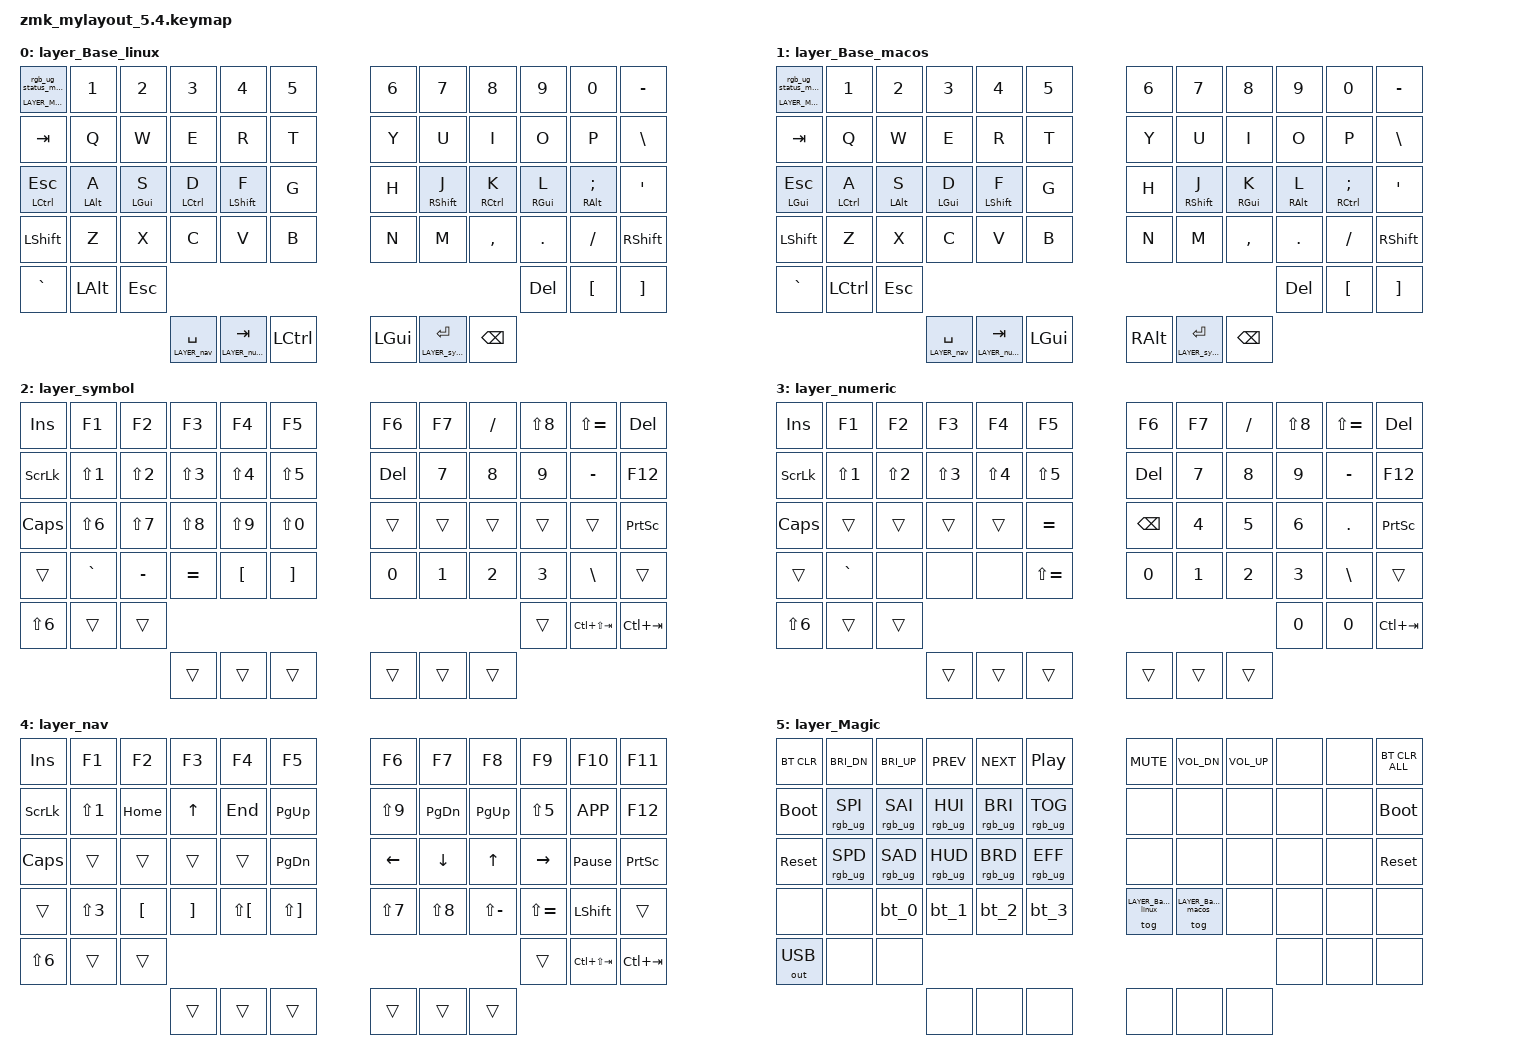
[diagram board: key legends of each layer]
/*
 * Copyright (c) 2020 The ZMK Contributors
 * Copyright (c) 2025 Innaworks Development Limited, trading as MoErgo
 *
 * SPDX-License-Identifier: MIT
 */


/* THIS FILE WAS GENERATED BY GO60 LAYOUT EDITOR
 *
 * This file was generated automatically. You may or may not want to
 * edit it directly.
 */

#include <behaviors.dtsi>

/* Include all behavior includes needed */

#include <dt-bindings/zmk/outputs.h>
#include <dt-bindings/zmk/keys.h>
#include <dt-bindings/zmk/bt.h>
#include <dt-bindings/zmk/rgb.h>

#include <input/processors.dtsi>
#include <dt-bindings/zmk/input_transform.h>
#include <zephyr/dt-bindings/input/input-event-codes.h>

/* On demand includes */
#include <dt-bindings/zmk/input_transform.h>
#include <dt-bindings/zmk/pointing.h>
#include <input/processors.dtsi>

/* Helper Macros, based on https://github.com/urob/zmk-helpers/ */

#pragma once

#define ZMK_HELPER_STRINGIFY(x) #x

// Preprocessor mechanism to overload macros, cf. https://stackoverflow.com/a/27051616/6114651
#define VARGS_(_10, _9, _8, _7, _6, _5, _4, _3, _2, _1, N, ...) N
#define VARGS(...) VARGS_(__VA_ARGS__, 10, 9, 8, 7, 6, 5, 4, 3, 2, 1, 0)
#define CONCAT_(a, b) a##b
#define CONCAT(a, b) CONCAT_(a, b)

#define ZMK_BEHAVIOR_CORE_tap_dance  \
    compatible = "zmk,behavior-tap-dance"; \
    #binding-cells = <0>

#define ZMK_BEHAVIOR(name, type, ...) \
    name: name { \
        ZMK_BEHAVIOR_CORE_ ## type; \
        __VA_ARGS__ \
    };

#define ZMK_TAP_DANCE(name, ...) \
    ZMK_BEHAVIOR(name, tap_dance, __VA_ARGS__)

#define ZMK_TD_LAYER(name, layer) \
    ZMK_TAP_DANCE(name, \
        tapping-term-ms = <200>; \
        bindings = <&mo layer>, <&to layer>; \
)





/* Key positions */

#define POS_LH_C6R1 0
#define POS_LH_C5R1 1
#define POS_LH_C4R1 2
#define POS_LH_C3R1 3
#define POS_LH_C2R1 4
#define POS_LH_C1R1 5
#define POS_RH_C1R1 6
#define POS_RH_C2R1 7
#define POS_RH_C3R1 8
#define POS_RH_C4R1 9
#define POS_RH_C5R1 10
#define POS_RH_C6R1 11
#define POS_LH_C6R2 12
#define POS_LH_C5R2 13
#define POS_LH_C4R2 14
#define POS_LH_C3R2 15
#define POS_LH_C2R2 16
#define POS_LH_C1R2 17
#define POS_RH_C1R2 18
#define POS_RH_C2R2 19
#define POS_RH_C3R2 20
#define POS_RH_C4R2 21
#define POS_RH_C5R2 22
#define POS_RH_C6R2 23
#define POS_LH_C6R3 24
#define POS_LH_C5R3 25
#define POS_LH_C4R3 26
#define POS_LH_C3R3 27
#define POS_LH_C2R3 28
#define POS_LH_C1R3 29
#define POS_RH_C1R3 30
#define POS_RH_C2R3 31
#define POS_RH_C3R3 32
#define POS_RH_C4R3 33
#define POS_RH_C5R3 34
#define POS_RH_C6R3 35
#define POS_LH_C6R4 36
#define POS_LH_C5R4 37
#define POS_LH_C4R4 38
#define POS_LH_C3R4 39
#define POS_LH_C2R4 40
#define POS_LH_C1R4 41
#define POS_RH_C1R4 42
#define POS_RH_C2R4 43
#define POS_RH_C3R4 44
#define POS_RH_C4R4 45
#define POS_RH_C5R4 46
#define POS_RH_C6R4 47
#define POS_LH_C4R5 48
#define POS_LH_C3R5 49
#define POS_LH_C2R5 50
#define POS_RH_C2R5 51
#define POS_RH_C3R5 52
#define POS_RH_C4R5 53
#define POS_LH_T1 54
#define POS_LH_T2 55
#define POS_LH_T3 56
#define POS_RH_T3 57
#define POS_RH_T2 58
#define POS_RH_T1 59


#define LEFT_HAND_KEYS \
  POS_LH_C1R1 POS_LH_C2R1 POS_LH_C3R1 POS_LH_C4R1 POS_LH_C5R1 POS_LH_C6R1 \
  POS_LH_C1R2 POS_LH_C2R2 POS_LH_C3R2 POS_LH_C4R2 POS_LH_C5R2 POS_LH_C6R2 \
  POS_LH_C1R3 POS_LH_C2R3 POS_LH_C3R3 POS_LH_C4R3 POS_LH_C5R3 POS_LH_C6R3 \
  POS_LH_C1R4 POS_LH_C2R4 POS_LH_C3R4 POS_LH_C4R4 POS_LH_C5R4 POS_LH_C6R4 \
              POS_LH_C2R5 POS_LH_C3R5 POS_LH_C4R5

#define RIGHT_HAND_KEYS \
  POS_RH_C1R1 POS_RH_C2R1 POS_RH_C3R1 POS_RH_C4R1 POS_RH_C5R1 POS_RH_C6R1 \
  POS_RH_C1R2 POS_RH_C2R2 POS_RH_C3R2 POS_RH_C4R2 POS_RH_C5R2 POS_RH_C6R2 \
  POS_RH_C1R3 POS_RH_C2R3 POS_RH_C3R3 POS_RH_C4R3 POS_RH_C5R3 POS_RH_C6R3 \
  POS_RH_C1R4 POS_RH_C2R4 POS_RH_C3R4 POS_RH_C4R4 POS_RH_C5R4 POS_RH_C6R4 \
              POS_RH_C2R5 POS_RH_C3R5 POS_RH_C4R5

#define THUMB_KEYS \
  POS_LH_T1 POS_LH_T2 POS_LH_T3 \
  POS_RH_T1 POS_RH_T2 POS_RH_T3

/* Environment and metadata defines */
#define KB_TYPE_GLOVE_80 1
#define KB_TYPE_GO_60    2

#define KB_TYPE          KB_TYPE_GO_60
#define EDITOR_HOST_OS   'L'

/* Automatically generated layer name defines */
#define LAYER_Base_linux 0
#define LAYER_Base_macos 1
#define LAYER_symbol 2
#define LAYER_numeric 3
#define LAYER_nav 4
#define LAYER_Magic 5

/* To deal with the situation where there is no Lower layer, to keep &lower happy */
#ifndef LAYER_Lower
#define LAYER_Lower 0
#endif

/* Generated input processors */
/ {
    input_processors {
        zip_click_to_right_click_mapper: zip_click_to_right_click_mapper {
            compatible = "zmk,input-processor-code-mapper";
            #input-processor-cells = <0>;
            type = <INPUT_EV_KEY>;
            map = <INPUT_BTN_0 INPUT_BTN_1>;
        };
    };
};

/* Custom Device-tree */


/* Input Listeners */
&cirque_rh_listener {
    input-processors = <&zip_xy_scaler 5 2>;
    layer_symbol {
        layers = <LAYER_symbol>;
        input-processors = <&zip_xy_scaler 5 1>;
    };
    layer_nav {
        layers = <LAYER_nav>;
        input-processors = <&zip_xy_scaler 9 1>;
    };
};

&cirque_lh_listener {
    input-processors = <&zip_xy_scaler 1 8>, <&zip_xy_transform INPUT_TRANSFORM_Y_INVERT>, <&zip_xy_to_scroll_mapper>, <&zip_click_to_right_click_mapper>;
    layer_symbol {
        layers = <LAYER_symbol>;
        input-processors = <&zip_xy_scaler 1 2>, <&zip_xy_transform INPUT_TRANSFORM_Y_INVERT>, <&zip_xy_to_scroll_mapper>, <&zip_click_to_right_click_mapper>;
    };
    layer_nav {
        layers = <LAYER_nav>;
        input-processors = <&zip_xy_scaler 2 1>, <&zip_xy_transform INPUT_TRANSFORM_Y_INVERT>, <&zip_xy_to_scroll_mapper>, <&zip_click_to_right_click_mapper>;
    };
};

/* System behavior and macros */
/ {
    behaviors {
        ZMK_TD_LAYER(lower, LAYER_Lower)
    };
};

/ {
    macros {
        rgb_ug_status_macro: rgb_ug_status_macro {
            label = "RGB_UG_STATUS";
            compatible = "zmk,behavior-macro";
            #binding-cells = <0>;
            bindings
                = <&rgb_ug RGB_STATUS>;
        };
    };
};

/ {
#ifdef BT_DISC_CMD
    behaviors {
        bt_0: bt_0 {
            compatible = "zmk,behavior-tap-dance";
            label = "BT_0";
            #binding-cells = <0>;
            tapping-term-ms = <200>;
            bindings = <&bt_select_0>, <&bt BT_DISC 0>;
        };
        bt_1: bt_1 {
            compatible = "zmk,behavior-tap-dance";
            label = "BT_1";
            #binding-cells = <0>;
            tapping-term-ms = <200>;
            bindings = <&bt_select_1>, <&bt BT_DISC 1>;
        };
        bt_2: bt_2 {
            compatible = "zmk,behavior-tap-dance";
            label = "BT_2";
            #binding-cells = <0>;
            tapping-term-ms = <200>;
            bindings = <&bt_select_2>, <&bt BT_DISC 2>;
        };
        bt_3: bt_3 {
            compatible = "zmk,behavior-tap-dance";
            label = "BT_3";
            #binding-cells = <0>;
            tapping-term-ms = <200>;
            bindings = <&bt_select_3>, <&bt BT_DISC 3>;
        };
    };
    macros {
        bt_select_0: bt_select_0 {
            label = "BT_SELECT_0";
            compatible = "zmk,behavior-macro";
            #binding-cells = <0>;
            bindings
                = <&out OUT_BLE>,
                  <&bt BT_SEL 0>;
        };
        bt_select_1: bt_select_1 {
            label = "BT_SELECT_1";
            compatible = "zmk,behavior-macro";
            #binding-cells = <0>;
            bindings
                = <&out OUT_BLE>,
                  <&bt BT_SEL 1>;
        };
        bt_select_2: bt_select_2 {
            label = "BT_SELECT_2";
            compatible = "zmk,behavior-macro";
            #binding-cells = <0>;
            bindings
                = <&out OUT_BLE>,
                  <&bt BT_SEL 2>;
        };
        bt_select_3: bt_select_3 {
            label = "BT_SELECT_3";
            compatible = "zmk,behavior-macro";
            #binding-cells = <0>;
            bindings
                = <&out OUT_BLE>,
                  <&bt BT_SEL 3>;
        };
    };
#else
    macros {
        bt_0: bt_0 {
            label = "BT_0";
            compatible = "zmk,behavior-macro";
            #binding-cells = <0>;
            bindings
                = <&out OUT_BLE>,
                  <&bt BT_SEL 0>;
        };
        bt_1: bt_1 {
            label = "BT_1";
            compatible = "zmk,behavior-macro";
            #binding-cells = <0>;
            bindings
                = <&out OUT_BLE>,
                  <&bt BT_SEL 1>;
        };
        bt_2: bt_2 {
            label = "BT_2";
            compatible = "zmk,behavior-macro";
            #binding-cells = <0>;
            bindings
                = <&out OUT_BLE>,
                  <&bt BT_SEL 2>;
        };
        bt_3: bt_3 {
            label = "BT_3";
            compatible = "zmk,behavior-macro";
            #binding-cells = <0>;
            bindings
                = <&out OUT_BLE>,
                  <&bt BT_SEL 3>;
        };
    };
#endif
};

/ {
    behaviors {
        magic: magic {
            compatible = "zmk,behavior-hold-tap";
            label = "MAGIC_HOLD_TAP";
            #binding-cells = <2>;
            flavor = "tap-preferred";
            tapping-term-ms = <200>;
            bindings = <&mo>, <&rgb_ug_status_macro>;
        };
    };
};


/* Custom Defined Behaviors */
/ {

};

/* Automatically generated macro definitions */
/ {
    macros {

    };
};

/* Automatically generated behavior definitions */
/ {
    behaviors {


        // Homerow Mod for the left index finger - TailorKey.
        // For advanced tuning of HRM values, see: https://docs.google.com/spreadsheets/d/1ESgObQelyz4lnKlfwLYsmofLJulOMK5RdGBsopLe2o8
        HRM_left_index_v1_TKZ: HRM_left_index_v1_TKZ {
            compatible = "zmk,behavior-hold-tap";
            #binding-cells = <2>;
            tapping-term-ms = <190>;
            bindings = <&kp>, <&kp>;
            flavor = "tap-preferred";
            quick-tap-ms = <300>;
            require-prior-idle-ms = <100>;
            hold-trigger-key-positions = <POS_LH_T1 POS_LH_T2 POS_LH_T3 POS_RH_C1R1 POS_RH_C2R1 POS_RH_C3R1 POS_RH_C4R1 POS_RH_C5R1 POS_RH_C1R2 POS_RH_C2R2 POS_RH_C3R2 POS_RH_C4R2 POS_RH_C5R2 POS_RH_C1R3 POS_RH_C2R3 POS_RH_C3R3 POS_RH_C4R3 POS_RH_C5R3 POS_RH_C1R4 POS_RH_C2R4 POS_RH_C3R4 POS_RH_C4R4 POS_RH_C5R4 POS_RH_T3 POS_RH_T2 POS_RH_T1 POS_RH_C6R1 POS_RH_C6R2 POS_RH_C6R3 POS_RH_C6R4 POS_RH_C3R5 POS_RH_C4R5 POS_RH_C2R5>;
            hold-trigger-on-release;
        };

        // Homerow Mod for the left middle finger - TailorKey
        HRM_left_middy_v1_TKZ: HRM_left_middy_v1_TKZ {
            compatible = "zmk,behavior-hold-tap";
            #binding-cells = <2>;
            tapping-term-ms = <210>;
            bindings = <&kp>, <&kp>;
            flavor = "tap-preferred";
            quick-tap-ms = <300>;
            require-prior-idle-ms = <150>;
            hold-trigger-key-positions = <POS_LH_T1 POS_LH_T2 POS_LH_T3 POS_RH_C1R1 POS_RH_C2R1 POS_RH_C3R1 POS_RH_C4R1 POS_RH_C5R1 POS_RH_C1R2 POS_RH_C2R2 POS_RH_C3R2 POS_RH_C4R2 POS_RH_C5R2 POS_RH_C1R3 POS_RH_C2R3 POS_RH_C3R3 POS_RH_C4R3 POS_RH_C5R3 POS_RH_C1R4 POS_RH_C2R4 POS_RH_C3R4 POS_RH_C4R4 POS_RH_C5R4 POS_RH_T3 POS_RH_T2 POS_RH_T1 POS_RH_C6R1 POS_RH_C6R2 POS_RH_C6R3 POS_RH_C6R4 POS_RH_C2R5 POS_RH_C3R5 POS_RH_C4R5>;
            hold-trigger-on-release;
        };

        // Homerow Mod for the left pinky - TailorKey
        HRM_left_pinky_v1_TKZ: HRM_left_pinky_v1_TKZ {
            compatible = "zmk,behavior-hold-tap";
            #binding-cells = <2>;
            tapping-term-ms = <260>;
            bindings = <&kp>, <&kp>;
            flavor = "tap-preferred";
            quick-tap-ms = <300>;
            require-prior-idle-ms = <150>;
            hold-trigger-key-positions = <POS_LH_T1 POS_LH_T2 POS_LH_T3 POS_RH_C1R1 POS_RH_C2R1 POS_RH_C3R1 POS_RH_C4R1 POS_RH_C5R1 POS_RH_C6R1 POS_RH_C2R2 POS_RH_C3R2 POS_RH_C4R2 POS_RH_C5R2 POS_RH_C6R2 POS_RH_C3R3 POS_RH_C4R3 POS_RH_C5R3 POS_RH_C6R3 POS_RH_C3R4 POS_RH_C4R4 POS_RH_C5R4 POS_RH_C6R4 POS_RH_C1R2 POS_RH_C1R3 POS_RH_C2R3 POS_RH_C1R4 POS_RH_C2R4 POS_RH_T3 POS_RH_T2 POS_RH_T1 POS_RH_C2R5 POS_RH_C3R5 POS_RH_C4R5>;
            hold-trigger-on-release;
        };

        // Homerow Mod for the left ring finger 1 - TailorKey
        HRM_left_ring_v1_TKZ: HRM_left_ring_v1_TKZ {
            compatible = "zmk,behavior-hold-tap";
            #binding-cells = <2>;
            tapping-term-ms = <210>;
            bindings = <&kp>, <&kp>;
            flavor = "tap-preferred";
            quick-tap-ms = <300>;
            require-prior-idle-ms = <150>;
            hold-trigger-key-positions = <POS_LH_T1 POS_LH_T2 POS_LH_T3 POS_RH_C1R1 POS_RH_C2R1 POS_RH_C3R1 POS_RH_C4R1 POS_RH_C5R1 POS_RH_C1R2 POS_RH_C2R2 POS_RH_C3R2 POS_RH_C4R2 POS_RH_C5R2 POS_RH_C1R3 POS_RH_C2R3 POS_RH_C3R3 POS_RH_C4R3 POS_RH_C5R3 POS_RH_C1R4 POS_RH_C2R4 POS_RH_C3R4 POS_RH_C4R4 POS_RH_C5R4 POS_RH_T3 POS_RH_T2 POS_RH_T1 POS_RH_C6R1 POS_RH_C6R2 POS_RH_C6R3 POS_RH_C6R4 POS_RH_C2R5 POS_RH_C3R5 POS_RH_C4R5>;
            hold-trigger-on-release;
        };

        // Homerow Mod for the right index finger - TailorKey
        HRM_right_index_v1_TKZ: HRM_right_index_v1_TKZ {
            compatible = "zmk,behavior-hold-tap";
            #binding-cells = <2>;
            tapping-term-ms = <190>;
            bindings = <&kp>, <&kp>;
            flavor = "tap-preferred";
            quick-tap-ms = <300>;
            require-prior-idle-ms = <100>;
            hold-trigger-key-positions = <POS_RH_C4R5 POS_RH_C3R5 POS_RH_C2R5 POS_LH_C6R1 POS_LH_C5R1 POS_LH_C4R1 POS_LH_C3R1 POS_LH_C2R1 POS_LH_C6R2 POS_LH_C5R2 POS_LH_C4R2 POS_LH_C3R2 POS_LH_C2R2 POS_LH_C1R2 POS_LH_C6R3 POS_LH_C5R3 POS_LH_C4R3 POS_LH_C3R3 POS_LH_C2R3 POS_LH_C1R3 POS_LH_C6R4 POS_LH_C5R4 POS_LH_C4R4 POS_LH_C3R4 POS_LH_C2R4 POS_LH_C1R4 POS_LH_C4R5 POS_LH_C3R5 POS_LH_C2R5 POS_LH_C1R1 POS_LH_T1 POS_LH_T2 POS_LH_T3>;
            hold-trigger-on-release;
        };

        // Homerow Mod for the right middle finger - TailorKey
        HRM_right_middy_v1_TKZ: HRM_right_middy_v1_TKZ {
            compatible = "zmk,behavior-hold-tap";
            #binding-cells = <2>;
            tapping-term-ms = <210>;
            bindings = <&kp>, <&kp>;
            flavor = "tap-preferred";
            quick-tap-ms = <300>;
            require-prior-idle-ms = <150>;
            hold-trigger-key-positions = <POS_RH_C4R5 POS_RH_C3R5 POS_RH_C2R5 POS_LH_C6R1 POS_LH_C5R1 POS_LH_C4R1 POS_LH_C3R1 POS_LH_C2R1 POS_LH_C6R2 POS_LH_C5R2 POS_LH_C4R2 POS_LH_C3R2 POS_LH_C2R2 POS_LH_C1R2 POS_LH_C6R3 POS_LH_C5R3 POS_LH_C4R3 POS_LH_C3R3 POS_LH_C2R3 POS_LH_C1R3 POS_LH_C6R4 POS_LH_C5R4 POS_LH_C4R4 POS_LH_C3R4 POS_LH_C2R4 POS_LH_C1R4 POS_LH_C4R5 POS_LH_C3R5 POS_LH_C2R5 POS_LH_C1R1 POS_LH_T1 POS_LH_T2 POS_LH_T3>;
            hold-trigger-on-release;
        };

        // Homerow Mod for the right pinky - TailorKey
        HRM_right_pinky_v1_TKZ: HRM_right_pinky_v1_TKZ {
            compatible = "zmk,behavior-hold-tap";
            #binding-cells = <2>;
            tapping-term-ms = <260>;
            bindings = <&kp>, <&kp>;
            flavor = "tap-preferred";
            quick-tap-ms = <300>;
            require-prior-idle-ms = <150>;
            hold-trigger-key-positions = <POS_RH_C4R5 POS_RH_C3R5 POS_RH_C2R5 POS_LH_C6R1 POS_LH_C5R1 POS_LH_C4R1 POS_LH_C3R1 POS_LH_C2R1 POS_LH_C6R2 POS_LH_C5R2 POS_LH_C4R2 POS_LH_C3R2 POS_LH_C2R2 POS_LH_C1R2 POS_LH_C6R3 POS_LH_C5R3 POS_LH_C4R3 POS_LH_C3R3 POS_LH_C2R3 POS_LH_C1R3 POS_LH_C6R4 POS_LH_C5R4 POS_LH_C4R4 POS_LH_C3R4 POS_LH_C2R4 POS_LH_C1R4 POS_LH_C4R5 POS_LH_C3R5 POS_LH_C2R5 POS_LH_C1R1 POS_LH_T1 POS_LH_T2 POS_LH_T3>;
            hold-trigger-on-release;
        };

        // Homerow Mod for the right ring 1 - TailorKey
        //
        HRM_right_ring_v1_TKZ: HRM_right_ring_v1_TKZ {
            compatible = "zmk,behavior-hold-tap";
            #binding-cells = <2>;
            tapping-term-ms = <210>;
            bindings = <&kp>, <&kp>;
            flavor = "tap-preferred";
            quick-tap-ms = <300>;
            require-prior-idle-ms = <150>;
            hold-trigger-key-positions = <POS_RH_C4R5 POS_RH_C3R5 POS_RH_C2R5 POS_LH_C6R1 POS_LH_C5R1 POS_LH_C4R1 POS_LH_C3R1 POS_LH_C2R1 POS_LH_C6R2 POS_LH_C5R2 POS_LH_C4R2 POS_LH_C3R2 POS_LH_C2R2 POS_LH_C1R2 POS_LH_C6R3 POS_LH_C5R3 POS_LH_C4R3 POS_LH_C3R3 POS_LH_C2R3 POS_LH_C1R3 POS_LH_C6R4 POS_LH_C5R4 POS_LH_C4R4 POS_LH_C3R4 POS_LH_C2R4 POS_LH_C1R4 POS_LH_C4R5 POS_LH_C3R5 POS_LH_C2R5 POS_LH_C1R1 POS_LH_T1 POS_LH_T2 POS_LH_T3>;
            hold-trigger-on-release;
        };

        thumb_key_layer_left: thumb_key_layer_left {
            compatible = "zmk,behavior-hold-tap";
            #binding-cells = <2>;
            tapping-term-ms = <200>;
            bindings = <&mo>, <&kp>;
            flavor = "balanced";
            quick-tap-ms = <300>;
        };

        pinky_ht: pinky_ht {
            compatible = "zmk,behavior-hold-tap";
            #binding-cells = <2>;
            tapping-term-ms = <200>;
            bindings = <&kp>, <&kp>;
            flavor = "balanced";
            quick-tap-ms = <300>;
        };

        thumb_key_layer_right: thumb_key_layer_right {
            compatible = "zmk,behavior-hold-tap";
            #binding-cells = <2>;
            tapping-term-ms = <200>;
            bindings = <&mo>, <&kp>;
            flavor = "balanced";
            quick-tap-ms = <300>;
        };
    };
};

/* Automatically generated combos definitions */
/ {
    combos {
        compatible = "zmk,combos";

        combo_rt {
            key-positions = <POS_LH_C2R2 POS_LH_C1R2>;
            bindings = <&kp LS(N9)>;
        };

        combo_vb {
            key-positions = <POS_LH_C2R4 POS_LH_C1R4>;
            bindings = <&kp LS(LBKT)>;
        };

        combo_fg {
            key-positions = <POS_LH_C1R3 POS_LH_C2R3>;
            bindings = <&kp LBKT>;
        };

        combo_yu {
            key-positions = <POS_RH_C1R2 POS_RH_C2R2>;
            bindings = <&kp LS(N0)>;
        };

        combo_hj {
            key-positions = <POS_RH_C1R3 POS_RH_C2R3>;
            bindings = <&kp RBKT>;
        };

        combo_nm {
            key-positions = <POS_RH_C1R4 POS_RH_C2R4>;
            bindings = <&kp LS(RBKT)>;
        };

        combo_enter {
            key-positions = <POS_RH_C3R4 POS_RH_C4R4>;
            bindings = <&kp RET>;
        };

        combo_esc {
            key-positions = <POS_RH_C2R4 POS_RH_C3R4>;
            bindings = <&kp ESC>;
        };

        combo_cv {
            key-positions = <POS_LH_C3R4 POS_LH_C2R4>;
            bindings = <&kp MINUS>;
        };
    };
};

/* Automatically generated keymap */
/ {
    keymap {
        compatible = "zmk,keymap";


        layer_Base_linux {
            bindings = <
 &magic LAYER_Magic 0                         &kp N1                        &kp N2                          &kp N3                          &kp N4  &kp N5                                                                                                                                                          &kp N6                           &kp N7                           &kp N8                         &kp N9                             &kp N0  &kp MINUS
              &kp TAB                          &kp Q                         &kp W                           &kp E                           &kp R   &kp T                                                                                                                                                           &kp Y                            &kp U                            &kp I                          &kp O                              &kp P   &kp BSLH
  &pinky_ht LCTRL ESC  &HRM_left_pinky_v1_TKZ LALT A  &HRM_left_ring_v1_TKZ LGUI S  &HRM_left_middy_v1_TKZ LCTRL D  &HRM_left_index_v1_TKZ LSHFT F   &kp G                                                                                                                                                           &kp H  &HRM_right_index_v1_TKZ RSHFT J  &HRM_right_middy_v1_TKZ RCTRL K  &HRM_right_ring_v1_TKZ RGUI L  &HRM_right_pinky_v1_TKZ RALT SEMI    &kp SQT
            &kp LSHFT                          &kp Z                         &kp X                           &kp C                           &kp V   &kp B                                                                                                                                                           &kp N                            &kp M                        &kp COMMA                        &kp DOT                           &kp FSLH  &kp RSHFT
                                                                         &kp GRAVE                        &kp LALT                         &kp ESC                                                                                                                                                                                                  &kp DEL                         &kp LBKT                       &kp RBKT
                                                                                                                                                            &thumb_key_layer_left LAYER_nav SPACE  &thumb_key_layer_left LAYER_numeric TAB  &kp LCTRL  &kp LGUI  &thumb_key_layer_right LAYER_symbol RET  &kp BSPC
            >;
        };

        layer_Base_macos {
            bindings = <
 &magic LAYER_Magic 0                          &kp N1                        &kp N2                         &kp N3                          &kp N4  &kp N5                                                                                                                                                         &kp N6                           &kp N7                          &kp N8                         &kp N9                              &kp N0  &kp MINUS
              &kp TAB                           &kp Q                         &kp W                          &kp E                           &kp R   &kp T                                                                                                                                                          &kp Y                            &kp U                           &kp I                          &kp O                               &kp P   &kp BSLH
   &pinky_ht LGUI ESC  &HRM_left_pinky_v1_TKZ LCTRL A  &HRM_left_ring_v1_TKZ LALT S  &HRM_left_middy_v1_TKZ LGUI D  &HRM_left_index_v1_TKZ LSHFT F   &kp G                                                                                                                                                          &kp H  &HRM_right_index_v1_TKZ RSHFT J  &HRM_right_middy_v1_TKZ RGUI K  &HRM_right_ring_v1_TKZ RALT L  &HRM_right_pinky_v1_TKZ RCTRL SEMI    &kp SQT
            &kp LSHFT                           &kp Z                         &kp X                          &kp C                           &kp V   &kp B                                                                                                                                                          &kp N                            &kp M                       &kp COMMA                        &kp DOT                            &kp FSLH  &kp RSHFT
                                                                          &kp GRAVE                      &kp LCTRL                         &kp ESC                                                                                                                                                                                                 &kp DEL                        &kp LBKT                       &kp RBKT
                                                                                                                                                            &thumb_key_layer_left LAYER_nav SPACE  &thumb_key_layer_left LAYER_numeric TAB  &kp LGUI  &kp RALT  &thumb_key_layer_right LAYER_symbol RET  &kp BSPC
            >;
        };

        layer_symbol {
            bindings = <
  &kp INS      &kp F1      &kp F2      &kp F3      &kp F4      &kp F5                                                   &kp F6  &kp F7         &kp FSLH   &kp LS(N8)  &kp LS(EQUAL)    &kp DEL
 &kp SLCK  &kp LS(N1)  &kp LS(N2)  &kp LS(N3)  &kp LS(N4)  &kp LS(N5)                                                  &kp DEL  &kp N7           &kp N8       &kp N9      &kp MINUS    &kp F12
 &kp CAPS  &kp LS(N6)  &kp LS(N7)  &kp LS(N8)  &kp LS(N9)  &kp LS(N0)                                                   &trans  &trans           &trans       &trans         &trans  &kp PSCRN
   &trans   &kp GRAVE   &kp MINUS   &kp EQUAL    &kp LBKT    &kp RBKT                                                   &kp N0  &kp N1           &kp N2       &kp N3       &kp BSLH     &trans
                       &kp LS(N6)      &trans      &trans                                                                       &trans  &kp LC(LS(TAB))  &kp LC(TAB)
                                                                       &trans  &trans  &trans  &trans  &trans  &trans
            >;
        };

        layer_numeric {
            bindings = <
  &kp INS      &kp F1      &kp F2      &kp F3      &kp F4         &kp F5                                                    &kp F6  &kp F7  &kp FSLH   &kp LS(N8)  &kp LS(EQUAL)    &kp DEL
 &kp SLCK  &kp LS(N1)  &kp LS(N2)  &kp LS(N3)  &kp LS(N4)     &kp LS(N5)                                                   &kp DEL  &kp N7    &kp N8       &kp N9      &kp MINUS    &kp F12
 &kp CAPS      &trans      &trans      &trans      &trans      &kp EQUAL                                                  &kp BSPC  &kp N4    &kp N5       &kp N6        &kp DOT  &kp PSCRN
   &trans   &kp GRAVE       &none       &none       &none  &kp LS(EQUAL)                                                    &kp N0  &kp N1    &kp N2       &kp N3       &kp BSLH     &trans
                       &kp LS(N6)      &trans      &trans                                                                           &kp N0    &kp N0  &kp LC(TAB)
                                                                          &trans  &trans  &trans  &trans  &trans  &trans
            >;
        };

        layer_nav {
            bindings = <
  &kp INS      &kp F1      &kp F2    &kp F3        &kp F4        &kp F5                                                      &kp F6      &kp F7           &kp F8         &kp F9          &kp F10    &kp F11
 &kp SLCK  &kp LS(N1)    &kp HOME    &kp UP       &kp END     &kp PG_UP                                                  &kp LS(N9)   &kp PG_DN        &kp PG_UP     &kp LS(N5)        &kp K_APP    &kp F12
 &kp CAPS      &trans      &trans    &trans        &trans     &kp PG_DN                                                    &kp LEFT    &kp DOWN           &kp UP      &kp RIGHT  &kp PAUSE_BREAK  &kp PSCRN
   &trans  &kp LS(N3)    &kp LBKT  &kp RBKT  &kp LS(LBKT)  &kp LS(RBKT)                                                  &kp LS(N7)  &kp LS(N8)    &kp LS(MINUS)  &kp LS(EQUAL)        &kp LSHFT     &trans
                       &kp LS(N6)    &trans        &trans                                                                                &trans  &kp LC(LS(TAB))    &kp LC(TAB)
                                                                         &trans  &trans  &trans  &trans  &trans  &trans
            >;
        };

        layer_Magic {
            bindings = <
  &bt BT_CLR     &kp C_BRI_DN     &kp C_BRI_UP       &kp C_PREV       &kp C_NEXT         &kp C_PP                                                             &kp C_MUTE           &kp C_VOL_DN  &kp C_VOL_UP   &none   &none  &bt BT_CLR_ALL
 &bootloader  &rgb_ug RGB_SPI  &rgb_ug RGB_SAI  &rgb_ug RGB_HUI  &rgb_ug RGB_BRI  &rgb_ug RGB_TOG                                                                  &none                  &none         &none   &none   &none     &bootloader
  &sys_reset  &rgb_ug RGB_SPD  &rgb_ug RGB_SAD  &rgb_ug RGB_HUD  &rgb_ug RGB_BRD  &rgb_ug RGB_EFF                                                                  &none                  &none         &none   &none   &none      &sys_reset
       &none            &none            &bt_0            &bt_1            &bt_2            &bt_3                                                  &tog LAYER_Base_linux  &tog LAYER_Base_macos         &none   &none   &none           &none
                                  &out OUT_USB            &none            &none                                                                                                          &none         &none   &none
                                                                                                    &none   &none   &none   &none   &none   &none
            >;
        };

    };
};
